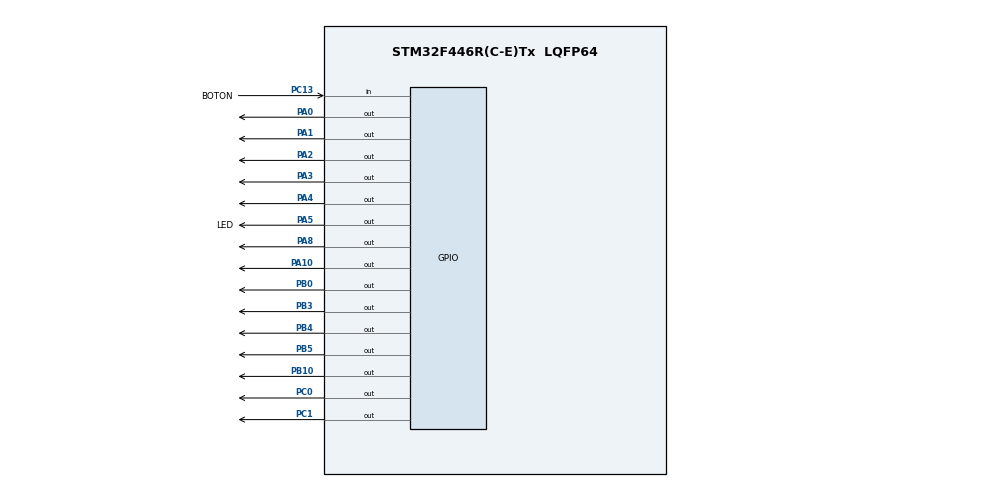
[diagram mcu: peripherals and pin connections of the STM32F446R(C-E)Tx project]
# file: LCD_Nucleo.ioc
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Mcu.Family=STM32F4
Mcu.Name=STM32F446R(C-E)Tx
Mcu.Package=LQFP64
NVIC.PriorityGroup=NVIC_PRIORITYGROUP_4
PA0-WKUP.Signal=GPIO_Output
PA1.Signal=GPIO_Output
PA10.Signal=GPIO_Output
PA2.Signal=GPIO_Output
PA3.Signal=GPIO_Output
PA4.Signal=GPIO_Output
PA5.GPIO_Label=LED
PA5.Signal=GPIO_Output
PA8.Signal=GPIO_Output
PB0.Signal=GPIO_Output
PB10.Signal=GPIO_Output
PB3.Signal=GPIO_Output
PB4.Signal=GPIO_Output
PB5.Signal=GPIO_Output
PC0.Signal=GPIO_Output
PC1.Signal=GPIO_Output
PC13.GPIO_Label=BOTON
PC13.GPIO_PuPd=GPIO_PULLUP
PC13.Signal=GPIO_Input
PC14-OSC32_IN.Mode=LSE-External-Oscillator
PC14-OSC32_IN.Signal=RCC_OSC32_IN
PC15-OSC32_OUT.Mode=LSE-External-Oscillator
PC15-OSC32_OUT.Signal=RCC_OSC32_OUT
ProjectManager.HeapSize=0x200
ProjectManager.StackSize=0x400
ProjectManager.TargetToolchain=MDK-ARM V5.32
RCC.CortexFreq_Value=16000000
RCC.USBFreq_Value=96000000
RCC.VCOOutputFreq_Value=192000000
TIM4.Prescaler=16
VP_TIM4_VS_ClockSourceINT.Mode=Internal
board=custom

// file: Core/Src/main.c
/* USER CODE BEGIN Header */
/**
  ******************************************************************************
  * @file           : main.c
  * @brief          : Main program body
  ******************************************************************************
  * @attention
  *
  * Copyright (c) 2025 STMicroelectronics.
  * All rights reserved.
  *
  * This software is licensed under terms that can be found in the LICENSE file
  * in the root directory of this software component.
  * If no LICENSE file comes with this software, it is provided AS-IS.
  *
  ******************************************************************************
  */
/* USER CODE END Header */
#include "main.h"

/* USER CODE BEGIN Includes */
#include "lcd.h"
#include <stdio.h>
/* USER CODE END Includes */

TIM_HandleTypeDef htim4;

/* USER CODE BEGIN PV */
const char figura_1[8] = {0x0A, 0x0A, 0x0A, 0x00, 0x11, 0x11, 0x0E, 0x00};
const char figura_2[8] = {0x0, 0x4, 0x2, 0x1f, 0x2, 0x4, 0x0, 0x00};

char txt3[] = "LCD key: ";
char Txt[20], buffer[50], c='M';

float t;
unsigned int v;
#define  __delay_ms(x)    HAL_Delay(x)

void __delay_us(int32_t delay)
{
		uint16_t tickstart;
		//__HAL_TIM_SetCounter(&htim4, 0);
		tickstart = __HAL_TIM_GET_COUNTER(&htim4);
    while((__HAL_TIM_GET_COUNTER(&htim4)-tickstart) < delay);
}

/* USER CODE END PV */

void SystemClock_Config(void);
static void MX_GPIO_Init(void);
static void MX_TIM4_Init(void);

int main(void)
{

  /* USER CODE BEGIN 1 */
	int t1=1000, t2=50, _t=0;
	int x;

  /* USER CODE END 1 */

  /* MCU Configuration--------------------------------------------------------*/

  /* Reset of all peripherals, Initializes the Flash interface and the Systick. */
  HAL_Init();

  /* Configure the system clock */
  SystemClock_Config();

  /* Initialize all configured peripherals */
  MX_GPIO_Init();
  MX_TIM4_Init();
  /* USER CODE BEGIN 2 */

	  HAL_TIM_Base_Start(&htim4);
		__HAL_TIM_SetCounter(&htim4, 0);

		Lcd_Init();                        // Initialize Lcd
		HAL_Delay(15);

		Lcd_CGRAM_Init();
		Lcd_CGRAM_CreateChar(0, figura_1);
		Lcd_CGRAM_CreateChar(1, figura_2);
		Lcd_CGRAM_Close();

		Lcd_Clear(); //Lcd_Cmd(_LCD_CLEAR);               // Clear display
		Lcd_NoBlink(); //Lcd_Cmd(_LCD_CURSOR_OFF);          // Cursor off

		Lcd_Set_Cursor(1,1);
		Lcd_Write_String(txt3);                 // Write text in first row
		Lcd_Set_Cursor(2,1);
		Lcd_Write_String("PIC  es la onda!");                 // Write text in first row

		HAL_Delay(1000);
		Lcd_Clear();
		Lcd_Set_Cursor(2, 1);
		sprintf(Txt, "  %0.2f     %c", 3.14159265, c);
		Lcd_Write_String(Txt);

		Lcd_Set_Cursor(1, 8);
		Lcd_Write_Char('z');

		HAL_Delay(1500);
		Lcd_Clear();

  /* USER CODE END 2 */

  /* Infinite loop */
  /* USER CODE BEGIN WHILE */
  while (1)
  {
	  HAL_GPIO_TogglePin(LED_GPIO_Port, LED_Pin);
	  if(HAL_GPIO_ReadPin(BOTON_GPIO_Port, BOTON_Pin) == 0){
		  _t = t1;
		  HAL_Delay(4);
	  }else {
		  _t = t2;
	  }
	  HAL_Delay(_t);

		x= 0;/**/
		//old
		HAL_GPIO_WritePin(GPIOA, GPIO_PIN_3, 1);
		HAL_GPIO_WritePin(GPIOA, GPIO_PIN_2, 1);
		HAL_GPIO_WritePin(GPIOA, GPIO_PIN_10, x);
		HAL_GPIO_WritePin(GPIOB, GPIO_PIN_3, x);
		HAL_GPIO_WritePin(GPIOB, GPIO_PIN_5, x);
		HAL_GPIO_WritePin(GPIOB, GPIO_PIN_4, x);

		x=1;
		HAL_GPIO_WritePin(GPIOB, GPIO_PIN_10, x);
		HAL_GPIO_WritePin(GPIOA, GPIO_PIN_8, x);
		/*
		HAL_GPIO_WritePin(GPIOC, GPIO_PIN_0, x);
		HAL_GPIO_WritePin(GPIOC, GPIO_PIN_1, x);
		HAL_GPIO_WritePin(GPIOB, GPIO_PIN_0, x);
		HAL_GPIO_WritePin(GPIOA, GPIO_PIN_4, x);
		HAL_GPIO_WritePin(GPIOA, GPIO_PIN_1, x);
		HAL_GPIO_WritePin(GPIOA, GPIO_PIN_0, x);*/

    /* USER CODE END WHILE */

    /* USER CODE BEGIN 3 */
		    Lcd_Set_Cursor(1,1);
        Lcd_Write_String("Test LCD 16x2");
        Lcd_Set_Cursor(2,1);
        Lcd_Write_String("PIC18F4550");
        Lcd_Set_Cursor(2,12);
        Lcd_Blink();
        __delay_ms(2000);
        Lcd_NoBlink();
        Lcd_Clear();
        __delay_ms(400);

        Lcd_Set_Cursor(1,1);
        Lcd_Write_String("CGRAM Caracteres");
        Lcd_Set_Cursor(2,1);
        Lcd_Write_Char(0);
        Lcd_Write_Char(1);
        __delay_ms(1500);
        Lcd_Clear();
        __delay_ms(400);

        Lcd_Set_Cursor(1,1);
        Lcd_Write_String("Hola a todos");
        __delay_ms(500);
        for(char i=0; i<15; i++){
            Lcd_Shift_Right();
            __delay_ms(300);
        }
        __delay_ms(300);
        for(char i=0; i<15; i++){
            Lcd_Shift_Left();
            __delay_ms(300);
        }
        Lcd_Clear();
        __delay_ms(400);

        Lcd_Set_Cursor(1,1);
        sprintf(buffer, "Int: %u", v);
        Lcd_Write_String(buffer);
        Lcd_Set_Cursor(2,1);
        sprintf(buffer, "Float: %0.2f", t);
        Lcd_Write_String(buffer);
        __delay_ms(1500);
        Lcd_Clear();
        __delay_ms(100);
  }
  /* USER CODE END 3 */
}

void SystemClock_Config(void)
{
  RCC_OscInitTypeDef RCC_OscInitStruct = {0};
  RCC_ClkInitTypeDef RCC_ClkInitStruct = {0};

  /** Configure the main internal regulator output voltage
  */
  __HAL_RCC_PWR_CLK_ENABLE();
  __HAL_PWR_VOLTAGESCALING_CONFIG(PWR_REGULATOR_VOLTAGE_SCALE3);

  /** Initializes the RCC Oscillators according to the specified parameters
  * in the RCC_OscInitTypeDef structure.
  */
  RCC_OscInitStruct.OscillatorType = RCC_OSCILLATORTYPE_HSI;
  RCC_OscInitStruct.HSIState = RCC_HSI_ON;
  RCC_OscInitStruct.HSICalibrationValue = RCC_HSICALIBRATION_DEFAULT;
  RCC_OscInitStruct.PLL.PLLState = RCC_PLL_NONE;
  if (HAL_RCC_OscConfig(&RCC_OscInitStruct) != HAL_OK)
  {
    Error_Handler();
  }

  /** Initializes the CPU, AHB and APB buses clocks
  */
  RCC_ClkInitStruct.ClockType = RCC_CLOCKTYPE_HCLK|RCC_CLOCKTYPE_SYSCLK
                              |RCC_CLOCKTYPE_PCLK1|RCC_CLOCKTYPE_PCLK2;
  RCC_ClkInitStruct.SYSCLKSource = RCC_SYSCLKSOURCE_HSI;
  RCC_ClkInitStruct.AHBCLKDivider = RCC_SYSCLK_DIV1;
  RCC_ClkInitStruct.APB1CLKDivider = RCC_HCLK_DIV1;
  RCC_ClkInitStruct.APB2CLKDivider = RCC_HCLK_DIV1;

  if (HAL_RCC_ClockConfig(&RCC_ClkInitStruct, FLASH_LATENCY_0) != HAL_OK)
  {
    Error_Handler();
  }
}

static void MX_TIM4_Init(void)
{

  TIM_ClockConfigTypeDef sClockSourceConfig = {0};
  TIM_MasterConfigTypeDef sMasterConfig = {0};

  htim4.Instance = TIM4;
  htim4.Init.Prescaler = 16;
  htim4.Init.CounterMode = TIM_COUNTERMODE_UP;
  htim4.Init.Period = 65535;
  htim4.Init.ClockDivision = TIM_CLOCKDIVISION_DIV1;
  htim4.Init.AutoReloadPreload = TIM_AUTORELOAD_PRELOAD_DISABLE;
  if (HAL_TIM_Base_Init(&htim4) != HAL_OK)
  {
    Error_Handler();
  }
  sClockSourceConfig.ClockSource = TIM_CLOCKSOURCE_INTERNAL;
  if (HAL_TIM_ConfigClockSource(&htim4, &sClockSourceConfig) != HAL_OK)
  {
    Error_Handler();
  }
  sMasterConfig.MasterOutputTrigger = TIM_TRGO_RESET;
  sMasterConfig.MasterSlaveMode = TIM_MASTERSLAVEMODE_DISABLE;
  if (HAL_TIMEx_MasterConfigSynchronization(&htim4, &sMasterConfig) != HAL_OK)
  {
    Error_Handler();
  }

}

static void MX_GPIO_Init(void)
{
  GPIO_InitTypeDef GPIO_InitStruct = {0};

  /* GPIO Ports Clock Enable */
  __HAL_RCC_GPIOC_CLK_ENABLE();
  __HAL_RCC_GPIOA_CLK_ENABLE();
  __HAL_RCC_GPIOB_CLK_ENABLE();

  /*Configure GPIO pin Output Level */
  HAL_GPIO_WritePin(GPIOC, GPIO_PIN_0|GPIO_PIN_1, GPIO_PIN_RESET);

  /*Configure GPIO pin Output Level */
  HAL_GPIO_WritePin(GPIOA, GPIO_PIN_0|GPIO_PIN_1|GPIO_PIN_2|GPIO_PIN_3
                          |GPIO_PIN_4|LED_Pin|GPIO_PIN_8|GPIO_PIN_10, GPIO_PIN_RESET);

  /*Configure GPIO pin Output Level */
  HAL_GPIO_WritePin(GPIOB, GPIO_PIN_0|GPIO_PIN_10|GPIO_PIN_3|GPIO_PIN_4
                          |GPIO_PIN_5, GPIO_PIN_RESET);

  /*Configure GPIO pin : BOTON_Pin */
  GPIO_InitStruct.Pin = BOTON_Pin;
  GPIO_InitStruct.Mode = GPIO_MODE_INPUT;
  GPIO_InitStruct.Pull = GPIO_PULLUP;
  HAL_GPIO_Init(BOTON_GPIO_Port, &GPIO_InitStruct);

  /*Configure GPIO pins : PC0 PC1 */
  GPIO_InitStruct.Pin = GPIO_PIN_0|GPIO_PIN_1;
  GPIO_InitStruct.Mode = GPIO_MODE_OUTPUT_PP;
  GPIO_InitStruct.Pull = GPIO_NOPULL;
  GPIO_InitStruct.Speed = GPIO_SPEED_FREQ_LOW;
  HAL_GPIO_Init(GPIOC, &GPIO_InitStruct);

  /*Configure GPIO pins : PA0 PA1 PA2 PA3
                           PA4 LED_Pin PA8 PA10 */
  GPIO_InitStruct.Pin = GPIO_PIN_0|GPIO_PIN_1|GPIO_PIN_2|GPIO_PIN_3
                          |GPIO_PIN_4|LED_Pin|GPIO_PIN_8|GPIO_PIN_10;
  GPIO_InitStruct.Mode = GPIO_MODE_OUTPUT_PP;
  GPIO_InitStruct.Pull = GPIO_NOPULL;
  GPIO_InitStruct.Speed = GPIO_SPEED_FREQ_LOW;
  HAL_GPIO_Init(GPIOA, &GPIO_InitStruct);

  /*Configure GPIO pins : PB0 PB10 PB3 PB4
                           PB5 */
  GPIO_InitStruct.Pin = GPIO_PIN_0|GPIO_PIN_10|GPIO_PIN_3|GPIO_PIN_4
                          |GPIO_PIN_5;
  GPIO_InitStruct.Mode = GPIO_MODE_OUTPUT_PP;
  GPIO_InitStruct.Pull = GPIO_NOPULL;
  GPIO_InitStruct.Speed = GPIO_SPEED_FREQ_LOW;
  HAL_GPIO_Init(GPIOB, &GPIO_InitStruct);

}

void Error_Handler(void)
{
  __disable_irq();
  while (1)
  {
  }
}
